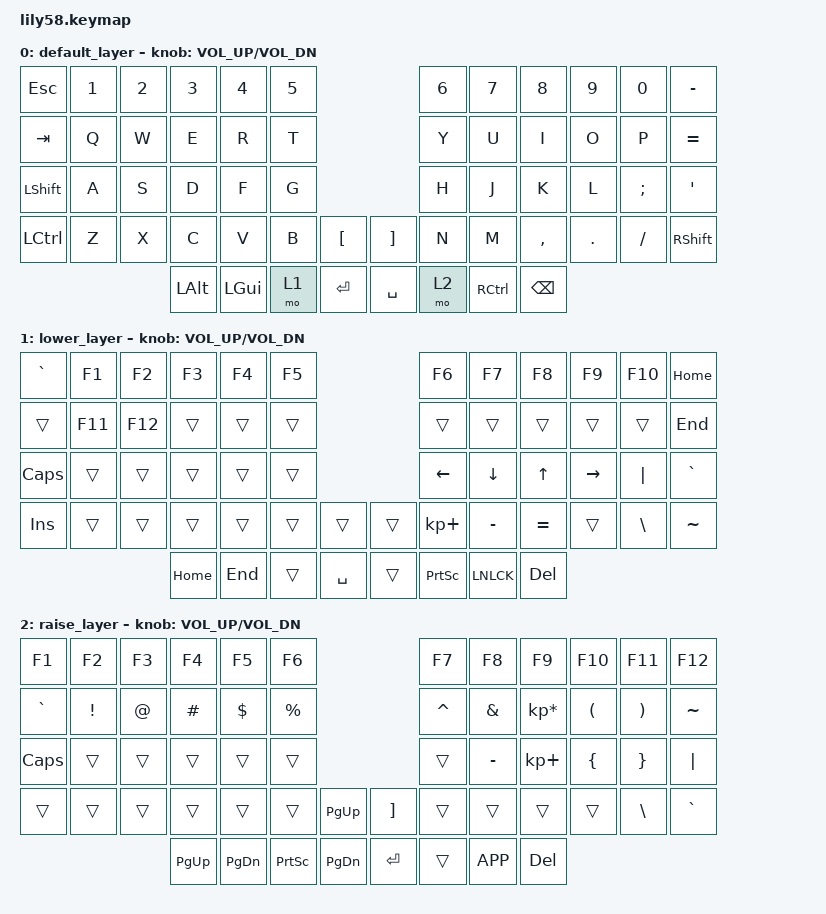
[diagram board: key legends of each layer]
/*
 * Copyright (c) 2020 The ZMK Contributors
 *
 * SPDX-License-Identifier: MIT
 */

#include <behaviors.dtsi>
#include <dt-bindings/zmk/keys.h>
#include <dt-bindings/zmk/bt.h>
#include <dt-bindings/zmk/ext_power.h>

/ {

	keymap {
		compatible = "zmk,keymap";

		default_layer {
// ------------------------------------------------------------------------------------------------------------
// |  ESC  |  1  |  2  |  3   |  4   |  5   |                   |  6   |  7    |  8    |  9   |   0   | -/_   |
// |  TAB  |  Q  |  W  |  E   |  R   |  T   |                   |  Y   |  U    |  I    |  O   |   P   | =/+   |
// | SHIFT |  A  |  S  |  D   |  F   |  G   |                   |  H   |  J    |  K    |  L   |  ;/:  | '/"   |
// | CTRL  |  Z  |  X  |  C   |  V   |  B   |   "["  |  |  "]"  |  N   |  M    |  ,/<  |  ./> |   //? | SHIFT |
//                     | ALT  |  GUI |LOWER |  ENTER |  | SPACE | RAISE| CTRL  | BSPC  |
			bindings = <
&kp ESC   &kp N1 &kp N2 &kp N3    &kp N4   &kp N5                         &kp N6     &kp N7    &kp N8    &kp N9  &kp N0   &kp MINUS
&kp TAB   &kp Q  &kp W  &kp E     &kp R    &kp T                          &kp Y      &kp U     &kp I     &kp O   &kp P    &kp EQUAL
&kp LSHFT &kp A  &kp S  &kp D     &kp F    &kp G                          &kp H      &kp J     &kp K     &kp L   &kp SEMI &kp SQT
&kp LCTRL &kp Z  &kp X  &kp C     &kp V    &kp B     &kp LBKT   &kp RBKT  &kp N      &kp M     &kp COMMA &kp DOT &kp FSLH &kp RSHFT
                        &kp LALT  &kp LGUI &mo 1     &kp RET    &kp SPACE &mo 2      &kp RCTRL &kp BSPC
			>;

			sensor-bindings = <&inc_dec_kp C_VOL_UP C_VOL_DN>;
		};

		lower_layer {
// ------------------------------------------------------------------------------------------------------------
// | `/~   | F1  |  F2 |  F3  |  F4  |  F5  |                   | F6   |  F7   |  F8   |  F9  |  F10  |   HOME|
// |       | F11 |  F12|      |      |      |                   |      |       |       |      |       |    END|
// | CapsLk|     |     |      |      |      |                   |  <-  |   v   |   ^   |  ->  |  "|"  |   `/~ |
// |INSERT |     |     |      |      |      |        |  |       |  +   |   -   |   =   |      | \/"|" |    ~  |
//                     |HOME  |END   |      |SPACE   |  |       |PrtScr|NumLk  |  DEL  |
			bindings = <
&kp GRAVE  &kp F1    &kp F2  &kp F3   &kp F4   &kp F5                       &kp F6      &kp F7    &kp F8    &kp F9      &kp F10   &kp HOME
&trans     &kp F11   &kp F12 &trans   &trans   &trans                       &trans      &trans    &trans    &trans      &trans    &kp END
&kp CAPS   &trans    &trans  &trans   &trans   &trans                       &kp LEFT    &kp DOWN  &kp UP    &kp RIGHT   &kp PIPE  &kp GRAVE
&kp INS    &trans    &trans  &trans   &trans   &trans  &trans    &trans     &kp KP_PLUS &kp MINUS &kp EQUAL  &trans     &kp BSLH  &kp TILDE   
                             &kp HOME &kp END  &trans  &kp SPACE &trans     &kp PSCRN  &kp LNLCK     &kp DEL
			>;

			sensor-bindings = <&inc_dec_kp C_VOL_UP C_VOL_DN>;
		};
		
		raise_layer {
// ------------------------------------------------------------------------------------------------------------
// |  F1   |  F2 |  F3 |  F4  |  F5  |  F6  |                   | F7   |  F8   |  F9   |  F10 |  F11  |  F12  |
// |  `/~  |  !  |  @  |  #   |  $   |  %   |                   |  ^   |  &    |  *    |  (   |   )   |   ~   |
// | CapsLk|     |     |      |      |      |                   |      |  _    |  +    |  {   |   }   |  "|"  |
// |       |     |     |      |      |      |  PG_UP |  |"["    |      |       |       |      | \/"|" |   `   |
//                     |PG_UP |PG_DN |PrtScr|  PG_DN |  |ENTER  |      |MENU   |  DEL  |
			bindings = <
&kp F1     &kp F2           &kp F3            &kp F4            &kp F5       &kp F6                                &kp F7    &kp F8    &kp F9          &kp F10   &kp F11   &kp F12
&kp GRAVE  &kp EXCL         &kp AT            &kp HASH          &kp DOLLAR   &kp PRCNT                             &kp CARET &kp AMPS  &kp KP_MULTIPLY &kp LPAR  &kp RPAR  &kp TILDE
&kp CAPS   &trans           &trans            &trans            &trans       &trans                                &trans    &kp MINUS &kp KP_PLUS     &kp LBRC  &kp RBRC  &kp PIPE
&trans     &trans           &trans            &trans            &trans       &trans        &kp PG_UP   &kp RBKT    &trans    &trans    &trans          &trans    &kp BSLH  &kp GRAVE  
                                              &kp PG_UP         &kp PG_DN    &kp PSCRN     &kp PG_DN   &kp RET     &trans    &kp K_APP &kp DEL
			>;

			sensor-bindings = <&inc_dec_kp C_VOL_UP C_VOL_DN>;
		};
	};
};
